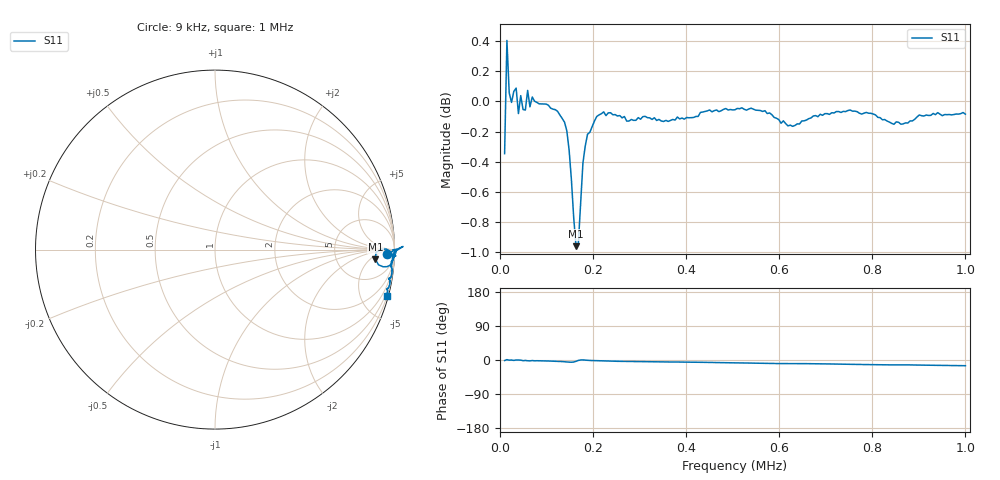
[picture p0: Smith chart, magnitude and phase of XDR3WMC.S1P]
!Agilent Technologies,E5071C,MY46100305,A.07.02
!Date: Fri Jan 01 00:42:35 1988
!Data & Calibration Information:
!Freq	S11:SOLT1(ON)
# Hz S MA R 50
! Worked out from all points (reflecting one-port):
!   201 points, 9 kHz to 1 MHz, reference 50 ohm
!   lowest |S11| = -1.0 dB at 162.6 kHz (marker M1), VSWR 18.10, Z = 697 - j380 ohm
!   phase of S11 starts at -1 deg and turns -14 deg over the sweep
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9000  0.9609 -1.4
13955  1.048 0.9
18910  1.006 -0.5
23865  0.9992 -0.1
28820  1.008 -1.1
33775  1.01 0.1
38730  0.9907 -0.1
43685  1.004 -0.3
48640  0.9938 -1.8
53595  0.9934 -1.2
58550  1.008 -2.0
63505  0.9958 -2.3
68460  1.003 -1.5
132875  0.987 -4.1
142785  0.9778 -5.2
152695  0.9418 -5.8
157650  0.9147 -5.3
162605  0.8953 -3.5
167560  0.8969 -1.1
177470  0.9541 0.2
207200  0.9885 -1.9
256750  0.9892 -3.5
380625  0.9881 -5.4
504500  0.9936 -7.5
628375  0.9811 -9.4
752250  0.9934 -11.4
876125  0.9836 -13.0
1000000  0.9903 -15.0
